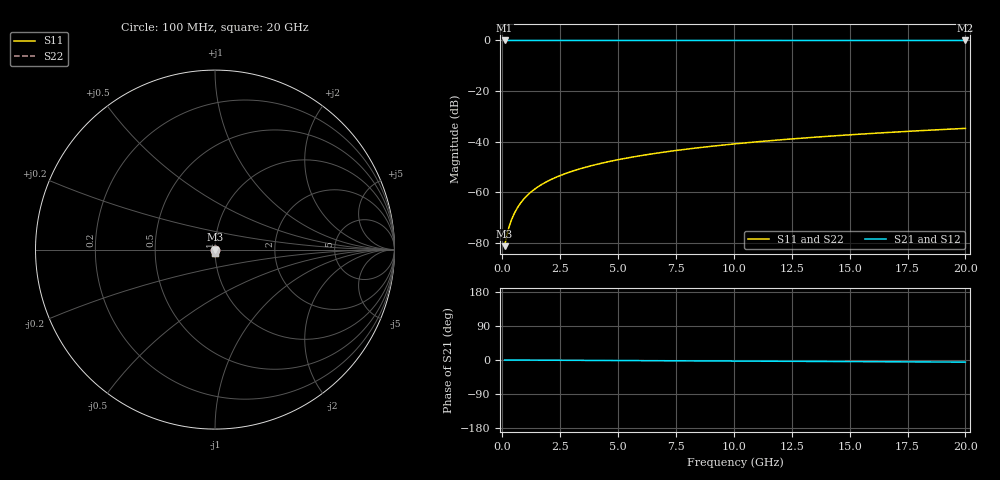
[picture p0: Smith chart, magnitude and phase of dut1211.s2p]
! Touchstone file exported from HFSS 2026.1.0
!  File:  C:/ffzhzh/LocalFiles/Ansys_Project_Files/temp_train_TSV_1211_1783192857_43440.aedt
!  Generated:  03:22:23 AM Jul  5, 2026
!  Design:  TSV
!  Project:  temp_train_TSV_1211_1783192857_43440
! Variables:
!  h_bsmrdl = 2um
!  h_ox = 20um
!  h_rdl = 5um
!  h_sub = 51.83um
!  h_tmrdl = 5um
!  h_tsv = 51.83um
!  h_via = 3um
!  l_bsmrdl = 300um
!  l_sub = 428.24um
!  l_tmrdl = 200um
!  m_sub = 200um
!  pitch = 46.89um
!  r_tsv = 14.12um
!  s_tmrdl = 10um
!  w_bsmrdl = 18um
!  w_sub = 500um
!  w_tmrdl = 12um
!  x_tsv_center1 = 206um
!  x_tsv_center2 = 524um
!  x_tsv_center3 = 736um
!  x_tsv_center4 = 1054um
!  x_tsv_center5 = 1266um
!  x_tsv_center6 = 1584um
# GHz S MA R 50.000000
! Terminal data exported
! Port[1] = TSV1_1_T1
! Port[2] = TSV1_1_T2
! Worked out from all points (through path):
!   200 points, 100 MHz to 20 GHz, reference 50 ohm
!   highest |S21| = 0.00 dB at 100 MHz (marker M1); lowest = 0.0 dB at 20 GHz (marker M2)
!   lowest |S11| = -81.3 dB at 100 MHz (marker M3), VSWR 1.00, Z = 50 - j0.00628 ohm
!   |S11| at or under -10 dB: start of sweep to end of sweep
!   |S22| runs from -81.3 to -34.7 dB; largest |S21 - S12| = 3.2e-15
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0.1  8.655e-05 -46.5  0.9999 -0.0  0.9999 -0.0  8.655e-05 -46.5
! Gamma 0 0 0 0
! Port Impedance 50 0 50 0
0.3  0.0002138 -67.4  0.9999 -0.1  0.9999 -0.1  0.0002138 -67.4
0.4  0.0002886 -70.2  0.9999 -0.1  0.9999 -0.1  0.0002886 -70.2
0.5  0.0003683 -72.0  0.9999 -0.1  0.9999 -0.1  0.0003683 -72.0
0.6  0.0004514 -73.3  0.9999 -0.2  0.9999 -0.2  0.0004514 -73.3
0.8  0.0006245 -75.5  0.9998 -0.2  0.9998 -0.2  0.0006245 -75.5
0.9  0.0007129 -76.5  0.9998 -0.3  0.9998 -0.3  0.0007129 -76.5
1.1  0.0008914 -78.0  0.9998 -0.3  0.9998 -0.3  0.0008914 -78.0
1.3  0.001071 -79.3  0.9998 -0.4  0.9998 -0.4  0.001071 -79.3
1.5  0.001251 -80.4  0.9998 -0.4  0.9998 -0.4  0.001251 -80.4
1.8  0.00152 -81.6  0.9998 -0.5  0.9998 -0.5  0.00152 -81.6
2.1  0.001789 -82.6  0.9997 -0.6  0.9997 -0.6  0.001789 -82.6
2.7  0.002328 -84.0  0.9997 -0.8  0.9997 -0.8  0.002328 -84.0
3.5  0.003049 -85.2  0.9997 -1.0  0.9997 -1.0  0.003049 -85.2
4.2  0.003683 -85.9  0.9997 -1.2  0.9997 -1.2  0.003683 -85.9
5  0.004413 -86.6  0.9996 -1.4  0.9996 -1.4  0.004413 -86.6
6.8  0.006067 -87.8  0.9995 -1.9  0.9995 -1.9  0.006067 -87.8
8.3  0.007454 -88.6  0.9995 -2.3  0.9995 -2.3  0.007454 -88.6
10.1  0.009124 -89.5  0.9994 -2.8  0.9994 -2.8  0.009124 -89.5
13.4  0.0122 -90.9  0.9993 -3.7  0.9993 -3.7  0.0122 -90.9
16.7  0.01528 -92.1  0.9992 -4.7  0.9992 -4.7  0.01528 -92.1
20  0.01837 -93.2  0.9991 -5.6  0.9991 -5.6  0.01837 -93.2
